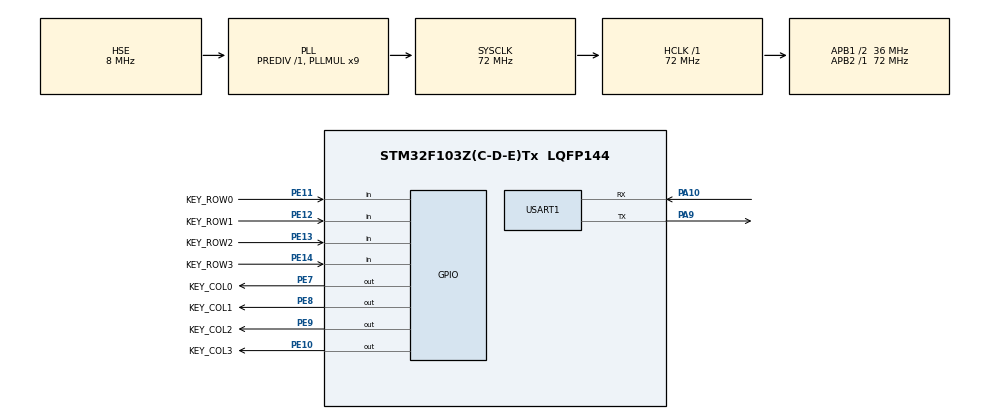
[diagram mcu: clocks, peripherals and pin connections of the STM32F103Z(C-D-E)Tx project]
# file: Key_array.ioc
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Mcu.Family=STM32F1
Mcu.Name=STM32F103Z(C-D-E)Tx
Mcu.Package=LQFP144
NVIC.PriorityGroup=NVIC_PRIORITYGROUP_4
OSC_IN.Mode=HSE-External-Oscillator
OSC_IN.Signal=RCC_OSC_IN
OSC_OUT.Mode=HSE-External-Oscillator
OSC_OUT.Signal=RCC_OSC_OUT
PA10.Mode=Asynchronous
PA10.Signal=USART1_RX
PA13.Mode=Serial_Wire
PA13.Signal=SYS_JTMS-SWDIO
PA14.Mode=Serial_Wire
PA14.Signal=SYS_JTCK-SWCLK
PA9.Mode=Asynchronous
PA9.Signal=USART1_TX
PE10.GPIO_Label=KEY_COL3
PE10.Signal=GPIO_Output
PE11.GPIO_Label=KEY_ROW0
PE11.GPIO_PuPd=GPIO_PULLUP
PE11.Signal=GPIO_Input
PE12.GPIO_Label=KEY_ROW1
PE12.GPIO_PuPd=GPIO_PULLUP
PE12.Signal=GPIO_Input
PE13.GPIO_Label=KEY_ROW2
PE13.GPIO_PuPd=GPIO_PULLUP
PE13.Signal=GPIO_Input
PE14.GPIO_Label=KEY_ROW3
PE14.GPIO_PuPd=GPIO_PULLUP
PE14.Signal=GPIO_Input
PE7.GPIO_Label=KEY_COL0
PE7.Signal=GPIO_Output
PE8.GPIO_Label=KEY_COL1
PE8.Signal=GPIO_Output
PE9.GPIO_Label=KEY_COL2
PE9.Signal=GPIO_Output
ProjectManager.HeapSize=0x200
ProjectManager.StackSize=0x400
ProjectManager.TargetToolchain=MDK-ARM V5.32
RCC.AHBFreq_Value=72000000
RCC.APB1CLKDivider=RCC_HCLK_DIV2
RCC.APB1Freq_Value=36000000
RCC.APB1TimFreq_Value=72000000
RCC.APB2Freq_Value=72000000
RCC.APB2TimFreq_Value=72000000
RCC.HCLKFreq_Value=72000000
RCC.PLLMUL=RCC_PLL_MUL9
RCC.PLLSourceVirtual=RCC_PLLSOURCE_HSE
RCC.SYSCLKFreq_VALUE=72000000
RCC.SYSCLKSource=RCC_SYSCLKSOURCE_PLLCLK
RCC.USBFreq_Value=72000000
USART1.VirtualMode=VM_ASYNC
board=custom

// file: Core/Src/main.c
/* USER CODE BEGIN Header */
/**
  ******************************************************************************
  * @file           : main.c
  * @brief          : Main program body
  ******************************************************************************
  * @attention
  *
  * Copyright (c) 2023 STMicroelectronics.
  * All rights reserved.
  *
  * This software is licensed under terms that can be found in the LICENSE file
  * in the root directory of this software component.
  * If no LICENSE file comes with this software, it is provided AS-IS.
  *
  ******************************************************************************
  */
/* USER CODE END Header */
#include "main.h"
#include "usart.h"
#include "gpio.h"

/* USER CODE BEGIN Includes */
#include "key_board.h"
#include <stdio.h>
/* USER CODE END Includes */

void SystemClock_Config(void);

/* USER CODE BEGIN 0 */
uint8_t output = 0;
uint8_t output_r = 0;
int count = 0;
/* USER CODE END 0 */

int main(void)
{

  /* MCU Configuration--------------------------------------------------------*/

  /* Reset of all peripherals, Initializes the Flash interface and the Systick. */
  HAL_Init();

  /* Configure the system clock */
  SystemClock_Config();

  /* Initialize all configured peripherals */
  MX_GPIO_Init();
  MX_USART1_UART_Init();

  /* Infinite loop */
  while (1)
  {

    /* USER CODE BEGIN 3 */
		output = KEY_SCAN();
		output_r = (output == 0)?output_r:output;

		if(count < 1000)count++;
		else {count = 0; printf("%d",output_r);}
  }
  /* USER CODE END 3 */
}

void SystemClock_Config(void)
{
  RCC_OscInitTypeDef RCC_OscInitStruct = {0};
  RCC_ClkInitTypeDef RCC_ClkInitStruct = {0};

  /** Initializes the RCC Oscillators according to the specified parameters
  * in the RCC_OscInitTypeDef structure.
  */
  RCC_OscInitStruct.OscillatorType = RCC_OSCILLATORTYPE_HSE;
  RCC_OscInitStruct.HSEState = RCC_HSE_ON;
  RCC_OscInitStruct.HSEPredivValue = RCC_HSE_PREDIV_DIV1;
  RCC_OscInitStruct.HSIState = RCC_HSI_ON;
  RCC_OscInitStruct.PLL.PLLState = RCC_PLL_ON;
  RCC_OscInitStruct.PLL.PLLSource = RCC_PLLSOURCE_HSE;
  RCC_OscInitStruct.PLL.PLLMUL = RCC_PLL_MUL9;
  if (HAL_RCC_OscConfig(&RCC_OscInitStruct) != HAL_OK)
  {
    Error_Handler();
  }

  /** Initializes the CPU, AHB and APB buses clocks
  */
  RCC_ClkInitStruct.ClockType = RCC_CLOCKTYPE_HCLK|RCC_CLOCKTYPE_SYSCLK
                              |RCC_CLOCKTYPE_PCLK1|RCC_CLOCKTYPE_PCLK2;
  RCC_ClkInitStruct.SYSCLKSource = RCC_SYSCLKSOURCE_PLLCLK;
  RCC_ClkInitStruct.AHBCLKDivider = RCC_SYSCLK_DIV1;
  RCC_ClkInitStruct.APB1CLKDivider = RCC_HCLK_DIV2;
  RCC_ClkInitStruct.APB2CLKDivider = RCC_HCLK_DIV1;

  if (HAL_RCC_ClockConfig(&RCC_ClkInitStruct, FLASH_LATENCY_2) != HAL_OK)
  {
    Error_Handler();
  }
}

/* USER CODE BEGIN 4 */
int fputc(int ch, FILE *f)
{
  HAL_UART_Transmit(&huart1, (uint8_t *)&ch, 1, 0xffff);
  return ch;
}

int fgetc(FILE *f)
{
  uint8_t ch = 0;
  HAL_UART_Receive(&huart1, &ch, 1, 0xffff);
  return ch;
}
/* USER CODE END 4 */

void Error_Handler(void)
{
  __disable_irq();
  while (1)
  {
  }
}
